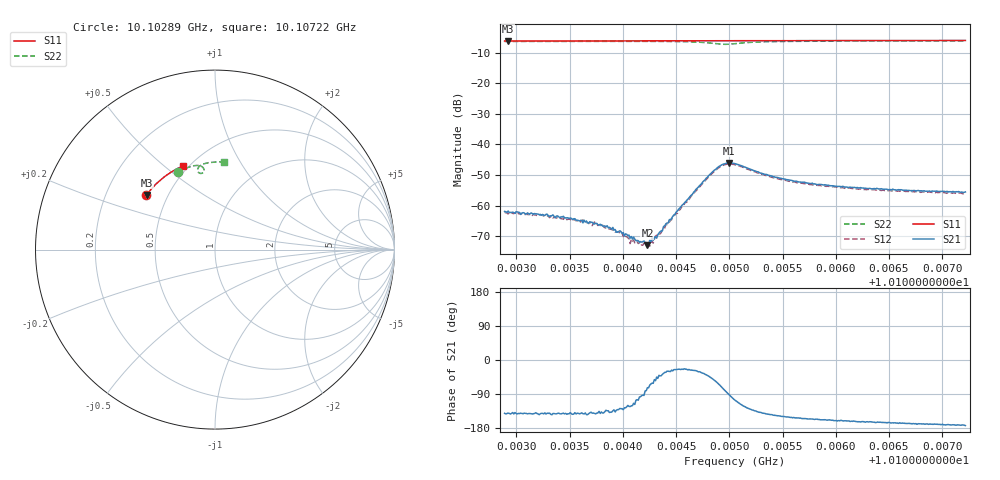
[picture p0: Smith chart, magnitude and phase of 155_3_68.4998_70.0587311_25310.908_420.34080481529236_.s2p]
#  HZ  S  RI  R  50.00
! Rohde & Schwarz Vector Network Analyzer
! Rohde-Schwarz,ZNB20-2Port,1311601062101988,3.16
! Created: UTC 3/20/2024, 5:10:42 PM
! freq[Hz]  re:S11  im:S11  re:S21  im:S21  re:S12  im:S12  re:S22  im:S22
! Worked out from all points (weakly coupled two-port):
!   401 points, 10.10289 GHz to 10.10722 GHz, reference 50 ohm
!   highest |S21| = -46.03 dB at 10.105 GHz (marker M1); lowest = -72.9 dB at 10.10423 GHz (marker M2)
!   lowest |S11| = -6.2 dB at 10.10292 GHz (marker M3), VSWR 2.90, Z = 19.1 + j15.2 ohm
!   |S11| at or under -10 dB: nowhere
!   |S22| runs from -7.3 to -6.2 dB; largest |S21 - S12| = 0.00053
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1.010289e10  -0.3819 0.3033  -0.000625 -0.000512  -0.00055 -0.000558  -0.2063 0.4331
1.0102923e10  -0.3806 0.3047  -0.000629 -0.000525  -0.000531 -0.000505  -0.2044 0.4341
1.0103269e10  -0.3679 0.3216  -0.000527 -0.000452  -0.000495 -0.000458  -0.1837 0.4444
1.0103615e10  -0.3545 0.338  -0.000435 -0.000372  -0.000423 -0.000391  -0.1621 0.4536
1.0103756e10  -0.3487 0.3443  -0.000397 -0.000328  -0.000369 -0.000347  -0.1529 0.457
1.0103853e10  -0.3448 0.3486  -0.000328 -0.000338  -0.000297 -0.000322  -0.1464 0.4591
1.0103972e10  -0.3399 0.354  -0.000239 -0.000307  -0.000221 -0.000287  -0.138 0.4619
1.0104091e10  -0.3347 0.3591  -0.000145 -0.000245  -0.000108 -0.000241  -0.1298 0.464
1.0104145e10  -0.3325 0.3614  -7.48e-05 -0.000258  -5.61e-05 -0.000235  -0.1256 0.4652
1.0104232e10  -0.3287 0.3652  6.58e-05 -0.000216  8.85e-05 -0.000209  -0.119 0.4667
1.0104275e10  -0.327 0.3669  0.000145 -0.000263  0.00014 -0.000225  -0.1155 0.4672
1.0104318e10  -0.325 0.3689  0.000209 -0.000209  0.000241 -0.000224  -0.1119 0.4678
1.010434e10  -0.324 0.3697  0.000273 -0.000232  0.000251 -0.000223  -0.1101 0.468
1.0104535e10  -0.3154 0.3778  0.000829 -0.000377  0.000807 -0.000277  -0.0921 0.4687
1.0104827e10  -0.302 0.3893  0.00229 -0.00243  0.00243 -0.00207  -0.0615 0.4469
1.0104913e10  -0.2978 0.3927  0.00176 -0.00411  0.00207 -0.00378  -0.0659 0.43
1.0105e10  -0.294 0.3958  -0.000155 -0.00499  0.000268 -0.0048  -0.0841 0.4251
1.0105054e10  -0.2916 0.398  -0.00135 -0.00467  -0.00087 -0.00459  -0.0932 0.4318
1.0105433e10  -0.2735 0.4119  -0.00241 -0.00162  -0.00221 -0.00177  -0.0754 0.4723
1.0105779e10  -0.2561 0.4239  -0.00213 -0.000952  -0.00193 -0.00105  -0.0483 0.4817
1.0106504e10  -0.2185 0.4463  -0.00178 -0.000481  -0.00166 -0.000616  0.00239 0.4881
1.0107218e10  -0.1796 0.4652  -0.00166 -0.000203  -0.00153 -0.000362  0.0496 0.4877
